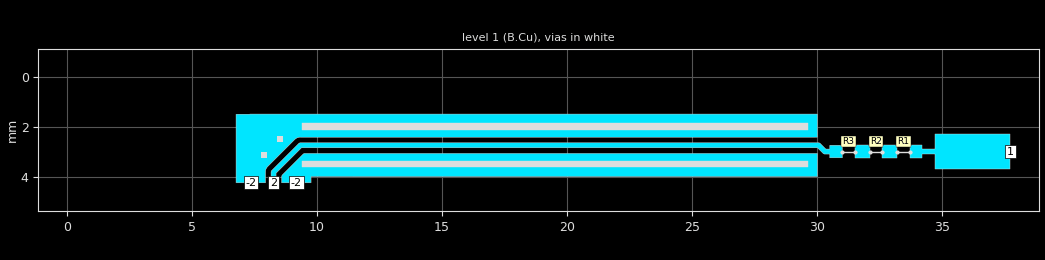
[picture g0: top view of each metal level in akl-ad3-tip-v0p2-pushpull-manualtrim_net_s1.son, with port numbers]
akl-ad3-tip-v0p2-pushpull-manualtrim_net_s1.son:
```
FTYP SONPROJ 19 ! Sonnet Project File
VER 18.01
HEADER
LIC antikernel2.1.51012 90e2ba8817c1 havequick azonenberg Level3Gold
DAT 09/28/2021 01:33:06
BUILT_BY_CREATED dxf 18.01 09/25/2021 05:46:11
BUILT_BY_SAVED sonnet 18.01
MDATE 09/28/2021 01:33:06
HDATE 09/28/2021 01:33:06
ANN Created by dxfgeo, Sonnet Software Inc.
END HEADER
DIM
ANG DEG
CAP PF
CON /OH
FREQ GHZ
IND NH
LNG MM
RES OH
END DIM
CONTROL
ABS
OPTIONS  -dj
SPEED 1
CACHE_ABS 2
Q_ACC N
END CONTROL
GEO
DRP1 RIGHT NONE 2
DRP1 BOTTOM NONE 2
TMET "Free Space" 0 FREESPACE 376.7303136 0 0 0
BMET "Lossless" 0 SUP 0 0 0 0
MET "Copper 1oz thick" 1 TMM 58000000 0.5 0.035 2
MET "Unknown_metal" 1 VOL INF 0
BOX 2 37.75 4.225 3020 338 20 0
      5 1 1 0 0 0 0 "Air"
      0.035 4.3 1 0.02 0 0 0 "Soldermask"
      0.1016 3.2 1 0.002 0 0 0 "Panasonic R-F775"
TECHLAY METAL B.Cu L1D0 -1 -65534 
1 0 0 N 776 1 1 100 100 0 0 0 Y
END
END
TECHLAY VIA Via1 L2D0 -2 -65534 
VIA POLYGON
1 0 -1 N 782 1 1 100 100 0 0 0 Y
TOLEVEL 2 RING NOCOVERS
END
END
LORGN 0 160 U 
POR1 BOX
POLY 746 1
11
1 50 0 0 0 37.75 2.975 
POR1 BOX
POLY 748 1
31
-2 50 0 0 0 9.1875 4.225 
POR1 BOX
POLY 750 1
36
-2 50 0 0 0 7.362976499 4.225 
POR1 BOX
POLY 752 1
44
2 50 0 0 0 8.275 4.225 
SMD 1 "R1"
ID 796
GNDREF AUTO
SBOX 33.35 33.6 2.85 3.1
PBSHW N
LPOS 33.475 2.85
TYPE SPARAM 1
SMDP 1 33.725 2.975 R 3 1 
EXSMDP
GNDREF AUTO
TERMW FEED
END EXSMDP
SMDP 1 33.225 2.975 L 4 2 
EXSMDP
GNDREF AUTO
TERMW FEED
END EXSMDP
END
SMD 1 "R2"
ID 801
GNDREF AUTO
SBOX 32.25 32.5 2.85 3.1
PBSHW N
LPOS 32.375 2.85
TYPE SPARAM 1
SMDP 1 32.625 2.975 R 5 1 
EXSMDP
GNDREF AUTO
TERMW FEED
END EXSMDP
SMDP 1 32.125 2.975 L 6 2 
EXSMDP
GNDREF AUTO
TERMW FEED
END EXSMDP
END
SMD 1 "R3"
ID 806
GNDREF AUTO
SBOX 31.15 31.4 2.85 3.1
PBSHW N
LPOS 31.275 2.85
TYPE SPARAM 2
SMDP 1 31.525 2.975 R 7 1 
EXSMDP
GNDREF AUTO
TERMW FEED
END EXSMDP
SMDP 1 31.025 2.975 L 8 2 
EXSMDP
GNDREF AUTO
TERMW FEED
END EXSMDP
END
NUM 10
1 5 0 N 744 1 1 100 100 0 0 0 Y
TLAYNAM B.Cu INH
31.525 3.225
31.525 2.725
32.125 2.725
32.125 3.225
31.525 3.225
END
1 5 0 N 745 1 1 100 100 0 0 0 Y
TLAYNAM B.Cu INH
32.625 3.225
32.625 2.725
33.225 2.725
33.225 3.225
32.625 3.225
END
1 13 0 N 746 1 1 100 100 0 0 0 Y
TLAYNAM B.Cu INH
37.75 2.275
34.725 2.275
34.725 2.875
34.225 2.875
34.225 2.725
33.725 2.725
33.725 3.225
34.225 3.225
34.225 3.075
34.725 3.075
34.725 3.675
37.75 3.675
37.75 2.275
END
1 34 0 N 748 1 1 100 100 0 0 0 Y
TLAYNAM B.Cu INH
9.775 3.975
10.768 3.975
10.773 3.974
10.78 3.974
10.784 3.975
11.45 3.975
11.45 3.976
29.919 3.976
29.9245 3.975
30.026 3.975
30.026 3.05
29.9 3.05
29.9 3.05
9.524 3.05
9.515 3.051
9.504 3.053
9.494 3.056
9.484 3.06
9.479 3.063
9.473 3.066
9.467 3.071
9.465 3.072
9.456 3.079
8.63 3.905
8.616 3.923
8.611 3.933
8.607 3.943
8.604 3.954
8.602 3.964
8.602 3.966
8.6 3.976
8.6 4.225
9.775 4.225
9.775 3.975
END
1 39 0 N 750 1 1 100 100 0 0 0 Y
TLAYNAM B.Cu INH
7.951 3.815
7.949 3.804
7.949 3.802
7.956 3.733
7.973 3.674
8.004 3.618
8.031 3.584
8.034 3.581
8.04 3.573
8.044 3.569
8.044 3.568
8.045 3.567
8.047 3.566
8.05 3.564
8.056 3.559
9.109 2.506
9.114 2.499
9.115 2.498
9.148 2.471
9.155 2.464
9.167 2.454
9.228 2.422
9.283 2.406
9.323 2.401
9.335 2.401
9.346 2.399
9.347 2.399
9.365 2.401
29.919 2.401
29.9245 2.4
30.026 2.4
30.026 1.475
7.325 1.475
7.325 1.481
6.775 1.481
6.775 3.369
6.775 4.225
7.950952998 4.225
7.951 3.815
END
1 47 0 N 752 1 1 100 100 0 0 0 Y
TLAYNAM B.Cu INH
8.375 3.841
9.391 2.825
30.034 2.825
30.258 3.049
30.265 3.055
30.274 3.061
30.282 3.066
30.291 3.069
30.301 3.072
30.31 3.074
30.32 3.075
30.525 3.075
30.525 3.225
31.025 3.225
31.025 2.725
30.525 2.725
30.525 2.875
30.366 2.875
30.155 2.665
30.149 2.658
30.142 2.651
30.135 2.645
30.126 2.639
30.118 2.634
30.109 2.631
30.099 2.628
30.09 2.626
30.08 2.625
9.345 2.625
9.335 2.626
9.326 2.628
9.316 2.631
9.307 2.634
9.299 2.639
9.29 2.645
9.283 2.651
8.201 3.733
8.195 3.74
8.189 3.749
8.184 3.757
8.181 3.766
8.178 3.776
8.176 3.785
8.175 3.795
8.175 4.225
8.375 4.225
8.375 3.841
END
VIA POLYGON
1 5 -1 N 754 1 1 100 100 0 0 0 Y
TOLEVEL 2 RING NOCOVERS
TLAYNAM Via1 INH
9.4 3.6
9.4 3.35
29.65 3.35
29.65 3.6
9.4 3.6
END
VIA POLYGON
1 5 -1 N 755 1 1 100 100 0 0 0 Y
TOLEVEL 2 RING NOCOVERS
TLAYNAM Via1 INH
7.775 3.225
7.775 2.975
8.025 2.975
8.025 3.225
7.775 3.225
END
VIA POLYGON
1 5 -1 N 756 1 1 100 100 0 0 0 Y
TOLEVEL 2 RING NOCOVERS
TLAYNAM Via1 INH
8.4 2.6
8.4 2.35
8.65 2.35
8.65 2.6
8.4 2.6
END
VIA POLYGON
1 5 -1 N 757 1 1 100 100 0 0 0 Y
TOLEVEL 2 RING NOCOVERS
TLAYNAM Via1 INH
9.4 2.1
9.4 1.85
29.65 1.85
29.65 2.1
9.4 2.1
END
END GEO
OPT
MAX 100
END OPT
VARSWP
ENABLED Y
FREQ Y AY ABS_ENTRY 0.1 20.0 -1 300 
END
END VARSWP
SMDFILES
1 "../../../../../../../bulk/datasheets/Vishay/Resistors/FC/0402/FC0402-FlipChip-200 Ohm.s2p"
2 "../../../../../../../bulk/datasheets/Vishay/Resistors/FC/0402/FC0402-FlipChip-50 Ohm.s2p"
END SMDFILES
```
